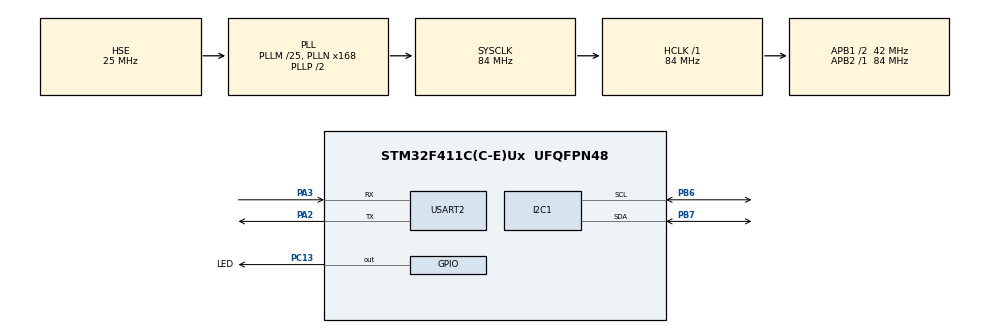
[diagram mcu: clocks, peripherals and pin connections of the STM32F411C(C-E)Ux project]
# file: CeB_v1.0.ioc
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I2C1.I2C_Mode=I2C_Standard
Mcu.Family=STM32F4
Mcu.Name=STM32F411C(C-E)Ux
Mcu.Package=UFQFPN48
NVIC.PriorityGroup=NVIC_PRIORITYGROUP_4
PA13.Mode=Serial_Wire
PA13.Signal=SYS_JTMS-SWDIO
PA14.Mode=Serial_Wire
PA14.Signal=SYS_JTCK-SWCLK
PA2.Mode=Asynchronous
PA2.Signal=USART2_TX
PA3.Mode=Asynchronous
PA3.Signal=USART2_RX
PB6.Mode=I2C
PB6.Signal=I2C1_SCL
PB7.Mode=I2C
PB7.Signal=I2C1_SDA
PC13-ANTI_TAMP.GPIO_Label=LED
PC13-ANTI_TAMP.PinState=GPIO_PIN_SET
PC13-ANTI_TAMP.Signal=GPIO_Output
PC14-OSC32_IN.Mode=LSE-External-Oscillator
PC14-OSC32_IN.Signal=RCC_OSC32_IN
PC15-OSC32_OUT.Mode=LSE-External-Oscillator
PC15-OSC32_OUT.Signal=RCC_OSC32_OUT
PH0\ -\ OSC_IN.Mode=HSE-External-Oscillator
PH0\ -\ OSC_IN.Signal=RCC_OSC_IN
PH1\ -\ OSC_OUT.Mode=HSE-External-Oscillator
PH1\ -\ OSC_OUT.Signal=RCC_OSC_OUT
ProjectManager.HeapSize=0x200
ProjectManager.StackSize=0x400
ProjectManager.TargetToolchain=STM32CubeIDE
RCC.48MHZClocksFreq_Value=42000000
RCC.AHBFreq_Value=84000000
RCC.APB1CLKDivider=RCC_HCLK_DIV2
RCC.APB1Freq_Value=42000000
RCC.APB1TimFreq_Value=84000000
RCC.APB2Freq_Value=84000000
RCC.APB2TimFreq_Value=84000000
RCC.CortexFreq_Value=84000000
RCC.HCLKFreq_Value=84000000
RCC.HSE_VALUE=25000000
RCC.HSI_VALUE=16000000
RCC.PLLM=25
RCC.PLLN=168
RCC.PLLSourceVirtual=RCC_PLLSOURCE_HSE
RCC.SYSCLKFreq_VALUE=84000000
RCC.SYSCLKSource=RCC_SYSCLKSOURCE_PLLCLK
RCC.VCOOutputFreq_Value=168000000
USART2.VirtualMode=VM_ASYNC
board=custom

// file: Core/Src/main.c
/* USER CODE BEGIN Header */
/**
  ******************************************************************************
  * @file           : main.c
  * @brief          : Main program body
  ******************************************************************************
  * @attention
  *
  * Copyright (c) 2025 STMicroelectronics.
  * All rights reserved.
  *
  * This software is licensed under terms that can be found in the LICENSE file
  * in the root directory of this software component.
  * If no LICENSE file comes with this software, it is provided AS-IS.
  *
  ******************************************************************************
  */
/* USER CODE END Header */
#include "main.h"
#include "i2c.h"
#include "usart.h"
#include "gpio.h"

/* USER CODE BEGIN Includes */
#include "eeprom.h"
#include <stdio.h>
#include <string.h>

#include "SSD1306_OLED.h"
#include "GFX_BW.h"
#include "Fonts/fonts.h"

/* USER CODE END Includes */

/* USER CODE BEGIN PV */
///* Virtual address defined by the user: 0xFFFF value is prohibited */
//uint16_t VirtAddVarTab[NB_OF_VAR];
//uint16_t VarDataTab[NB_OF_VAR] = {'Z','A','P','I','S',' ','Z',' ','1','0',':','0','6','0','5'}; // n+1
//uint8_t VarDataTabRead[NB_OF_VAR];
//uint16_t VarIndex,VarDataTmp = 0;
/* USER CODE END PV */

void SystemClock_Config(void);
/* USER CODE BEGIN PFP */
///* Direct printf to output somewhere */
//#ifdef __GNUC__
//#define PUTCHAR_PROTOTYPE int __io_putchar(int ch)
//#else
//#define PUTCHAR_PROTOTYPE int fputc(int ch, FILE *f)
//#endif /* __GNUC__ */
//
//#ifndef __UUID_H
//#define __UUID_H
////#define STM32_UUID ((uint32_t *)0x1FF0F420)
//#define STM32_UUID ((uint32_t *)UID_BASE)
//#endif //__UUID_H

/* USER CODE END PFP */

/* USER CODE BEGIN 0 */

// --------- PROSTE DANE EKRANU ----------
typedef struct {
  int   speed_kmh;   // np. 23
  int   power_w;     // np. 312
  float voltage_v;   // np. 41.8
  int   assist;      // PAS level, np. 3
  float trip_km;     // np. 12.4
  int   time_hh;     // np. 10
  int   time_mm;     // np. 06
} UiData;

// ---------- POMOCNICZE RYSOWANIE ------------
static void UI_DrawBattery(int x, int y, int w, int h, uint8_t pct)
{
  if(pct > 100) pct = 100;
  if(pct > 100) pct = 100;
  if(w < 8) w = 8;
  if(h < 8) h = 8;

  // obudowa
  GFX_DrawRectangle(x, y, w-2, h, WHITE);
  // „bolczyk” plusa po prawej
  GFX_DrawFillRectangle(x + w - 2, y + h/3, 2, h/3, WHITE);

  // wypełnienie wewnątrz
  int inner_w = (w-2) - 4;       // margines 2 piksele z każdej strony
  int inner_h = h - 4;
  int fill_w  = (inner_w * pct) / 100;
  GFX_DrawFillRectangle(x+2, y+2, fill_w, inner_h, WHITE);
}

static void UI_DrawLabelValue(int x, int y, const char* label, const char* value)
{
  char buf[20];
  // label
  GFX_SetFontSize(1);
  snprintf(buf, sizeof(buf), "%s", label);
  GFX_DrawString(x, y, buf, WHITE, 0);

  // value pod spodem
  GFX_SetFontSize(1);
  GFX_DrawString(x, y + (GFX_GetFontHeight()*1) + 2, (char*)value, WHITE, 0);
}

static int UI_TextWidthPx(const char* s)
{
  // szerokość pojedynczego znaku = font[1] * size, spacja = +1
  // (funkcje dostępne w Twojej bibliotece GFX)
  return (int)strlen(s) * ( (int)GFX_GetFontWidth() * (int)GFX_GetFontSize() + 1 );
}

static void UI_DrawCenteredText(int center_x, int y, const char* s)
{
  int w = UI_TextWidthPx(s);
  int x = center_x - w/2;
  if(x < 0) x = 0;
  GFX_DrawString(x, y, (char*)s, WHITE, 0);
}

// -------------- GŁÓWNY EKRAN ---------------
static void UI_DrawFirstScreen(const UiData* d)
{
  // tło
  SSD1306_Clear(BLACK);

  // USTAW CZCIONKĘ (wstaw prawdziwą nazwę z Fonts/fonts.h)
  // Przykłady często spotykane: Font5x7, Font_5x7, font5x7
  extern const uint8_t font_8x5[];    // <--- jeśli u Ciebie ma inną nazwę, podmień!
  GFX_SetFont(font_8x5);

  // Górny pasek: PAS + godzina + bateria
  char buf[24];

  // PAS (lewy górny)
  snprintf(buf, sizeof(buf), "PAS %d", d->assist);
  GFX_SetFontSize(1);
  GFX_DrawString(2, 1, buf, WHITE, 0);

//  // Godzina (środek góry)
//  snprintf(buf, sizeof(buf), "%02d:%02d", d->time_hh, d->time_mm);
//  UI_DrawCenteredText(SSD1306_LCDWIDTH/2, 1, buf);

  // Bateria (prawy górny)
  // Załóżmy, że 42.0V ≈ 100%, 36.0V ≈ 0% dla 10S Li-ion (przykład)
  int pct = (int)((d->voltage_v - 36.0f) * (100.0f / (42.0f - 36.0f)));
  if(pct < 0) pct = 0; if(pct > 100) pct = 100;
  UI_DrawBattery(SSD1306_LCDWIDTH - 26, 0, 26, 10, (uint8_t)pct);

  // Separator
  GFX_DrawFastHLine(0, 12, SSD1306_LCDWIDTH, WHITE);

  // Duża prędkość w centrum
  char spd[8];
  snprintf(spd, sizeof(spd), "%d", d->speed_kmh);
  GFX_SetFontSize(4);                 // x2 – duże cyfry (Twoje GFX tak powiększa) :contentReference[oaicite:3]{index=3}
  UI_DrawCenteredText(SSD1306_LCDWIDTH/2, 14, spd);

  // Jednostka "km/h" pod spodem mniejsza
  GFX_SetFontSize(1);
  UI_DrawCenteredText(SSD1306_LCDWIDTH/2, 18, spd + GFX_GetFontHeight()*2 + 2);
  GFX_DrawString(SSD1306_LCDWIDTH/2 + 30, 18 + GFX_GetFontHeight()*2 + 2, "km/h", WHITE, 0);

  // Dolny blok (trzy kolumny): PWR / VOLT / TRIP
  GFX_DrawFastHLine(0, SSD1306_LCDHEIGHT-20, SSD1306_LCDWIDTH, WHITE);

  // Kolumna 1: PWR
  char val[20];
  snprintf(val, sizeof(val), "%d W", d->power_w);
  UI_DrawLabelValue(2, SSD1306_LCDHEIGHT-18, "PWR", val);

  // Kolumna 2: VOLT (środek)
  snprintf(val, sizeof(val), "%.1f V", d->voltage_v);
  int mid_x = SSD1306_LCDWIDTH/2 - 20;
  UI_DrawLabelValue(mid_x, SSD1306_LCDHEIGHT/6 -18, 0, val);

  // Kolumna 3: TRIP (prawa)
  snprintf(val, sizeof(val), "%.1f km", d->trip_km);
  UI_DrawLabelValue(SSD1306_LCDWIDTH-48, SSD1306_LCDHEIGHT-18, "TRIP", val);

  // Wyświetl
  SSD1306_Display();
}

/* USER CODE END 0 */

int main(void)
{

  /* MCU Configuration--------------------------------------------------------*/

  /* Reset of all peripherals, Initializes the Flash interface and the Systick. */
  HAL_Init();

  /* Configure the system clock */
  SystemClock_Config();

  /* Initialize all configured peripherals */
  MX_GPIO_Init();
  MX_USART2_UART_Init();
  MX_I2C1_Init();
  /* USER CODE BEGIN 2 */

  SSD1306_Init(&hi2c1);

  SSD1306_Clear(BLACK);

  // USTAW CZCIONKĘ (TAK SAMO jak w UI_DrawFirstScreen!)
  // podmień jeśli u Ciebie nazywa się inaczej
  GFX_SetFont(font_8x5);
  GFX_SetFontSize(1);
  // przykładowe dane do pierwszego ekranu
  UiData d = {
    .speed_kmh = 12,
    .power_w   = 312,
    .voltage_v = 41.8f,
    .assist    = 3,
    .trip_km   = 12.4f,
    .time_hh   = 10,
    .time_mm   = 6
  };

  UI_DrawFirstScreen(&d);
  GFX_SetFontSize(2);
  SSD1306_Display();

//  char uart2Data[24] = "Connected to UART Two\r\n";
//     /*
//      * Output to uart2
//      * use screen or putty or whatever terminal software
//      * 8N1 115200
//      */
//     HAL_UART_Transmit(&huart2, (uint8_t *)&uart2Data,sizeof(uart2Data), 0xFFFF);
//
//   	printf("\r\n");
//
//   	printf("Scanning I2C bus:\r\n");
//  	HAL_StatusTypeDef result;
//   	uint8_t i;
//   	for (i=1; i<128; i++)
//   	{
//   	  /*
//   	   * the HAL wants a left aligned i2c address
//   	   * &hi2c1 is the handle
//   	   * (uint16_t)(i<<1) is the i2c address left aligned
//   	   * retries 2
//   	   * timeout 2
//   	   */
//   	  result = HAL_I2C_IsDeviceReady(&hi2c1, (uint16_t)(i<<1), 2, 2);
//   	  if (result != HAL_OK) // HAL_ERROR or HAL_BUSY or HAL_TIMEOUT
//   	  {
//   		  printf("."); // No ACK received at that address
//   	  }
//   	  if (result == HAL_OK)
//   	  {
//   		  printf("0x%X", i); // Received an ACK at that address
//   	  }
//   	}
//   	printf("\r\n");
//

//
//
//  HAL_FLASH_Unlock();
//
//  HAL_GPIO_WritePin(LED_GPIO_Port, LED_Pin, GPIO_PIN_SET);
//
//  /* EEPROM Init */
//  if( EE_Init() != EE_OK)
//  {
//    Error_Handler();
//  }
//
//  // Fill EEPROM variables addresses
//  for(VarIndex = 1; VarIndex <= NB_OF_VAR; VarIndex++)
//  {
//	  VirtAddVarTab[VarIndex-1] = VarIndex;
//  }
//
//
//  // Store Values in EEPROM emulation
//  HAL_UART_Transmit(&huart2, "Store values\n\r", 14, 100);
//
//  HAL_GPIO_WritePin(LED_GPIO_Port, LED_Pin, GPIO_PIN_RESET);
//	for (VarIndex = 0; VarIndex < NB_OF_VAR; VarIndex++)
//	{
//	  /* Sequence 1 */
//	  if((EE_WriteVariable(VirtAddVarTab[VarIndex],  VarDataTab[VarIndex])) != HAL_OK)
//	  {
//		Error_Handler();
//	  }
//	}
//	HAL_GPIO_WritePin(LED_GPIO_Port, LED_Pin, GPIO_PIN_SET);
//
//  // Read values
//  HAL_UART_Transmit(&huart2, "Read values\n\r", 13, 100);
//  HAL_GPIO_WritePin(LED_GPIO_Port, LED_Pin, GPIO_PIN_RESET);
//  for (VarIndex = 0; VarIndex < NB_OF_VAR; VarIndex++)
//  {
//	  if((EE_ReadVariable(VirtAddVarTab[VarIndex],  &VarDataTabRead[VarIndex])) != HAL_OK)
//	  {
//		  Error_Handler();
//	  }
//  }
//  HAL_GPIO_WritePin(LED_GPIO_Port, LED_Pin, GPIO_PIN_SET);
//
//  HAL_UART_Transmit(&huart2, "Read table: ", 12, 100);
//  HAL_UART_Transmit(&huart2, VarDataTabRead, NB_OF_VAR, 1000);
//  HAL_UART_Transmit(&huart2, "\n\r", 2, 100);
//
//
//  // Store revert Values in EEPROM emulation
//  HAL_UART_Transmit(&huart2, "\n\r", 2, 100);
//  HAL_UART_Transmit(&huart2, "Store revert values\n\r", 21, 100);
//
//  HAL_GPIO_WritePin(LED_GPIO_Port, LED_Pin, GPIO_PIN_RESET);
//	for (VarIndex = 0; VarIndex < NB_OF_VAR; VarIndex++)
//	{
//	  /* Sequence 1 */
//	  if((EE_WriteVariable(VirtAddVarTab[VarIndex],  VarDataTab[NB_OF_VAR-VarIndex-1])) != HAL_OK)
//	  {
//		Error_Handler();
//	  }
//	}
//	HAL_GPIO_WritePin(LED_GPIO_Port, LED_Pin, GPIO_PIN_SET);
//
//  // Read values
//  HAL_UART_Transmit(&huart2, "Read revert values\n\r", 20, 100);
//  HAL_GPIO_WritePin(LED_GPIO_Port, LED_Pin, GPIO_PIN_RESET);
//  for (VarIndex = 0; VarIndex < NB_OF_VAR; VarIndex++)
//  {
//	  if((EE_ReadVariable(VirtAddVarTab[VarIndex],  &VarDataTabRead[VarIndex])) != HAL_OK)
//	  {
//		  Error_Handler();
//	  }
//  }
//  HAL_GPIO_WritePin(LED_GPIO_Port, LED_Pin, GPIO_PIN_SET);
//
//  HAL_UART_Transmit(&huart2, "Read revert table: ", 19, 100);
//  HAL_UART_Transmit(&huart2, VarDataTabRead, NB_OF_VAR, 1000);
//  HAL_UART_Transmit(&huart2, "\n\r", 2, 100);
//
//  // Store Values in EEPROM emulation
//  HAL_UART_Transmit(&huart2, "\n\r", 2, 100);
//  HAL_UART_Transmit(&huart2, "Store values\n\r", 14, 100);
//
//  HAL_GPIO_WritePin(LED_GPIO_Port, LED_Pin, GPIO_PIN_RESET);
//	for (VarIndex = 0; VarIndex < NB_OF_VAR; VarIndex++)
//	{
//	  /* Sequence 1 */
//	  if((EE_WriteVariable(VirtAddVarTab[VarIndex],  VarDataTab[VarIndex])) != HAL_OK)
//	  {
//		Error_Handler();
//	  }
//	}
//	HAL_GPIO_WritePin(LED_GPIO_Port, LED_Pin, GPIO_PIN_SET);
//
//  // Read values
//  HAL_UART_Transmit(&huart2, "Read values\n\r", 13, 100);
//  HAL_GPIO_WritePin(LED_GPIO_Port, LED_Pin, GPIO_PIN_RESET);
//  for (VarIndex = 0; VarIndex < NB_OF_VAR; VarIndex++)
//  {
//	  if((EE_ReadVariable(VirtAddVarTab[VarIndex],  &VarDataTabRead[VarIndex])) != HAL_OK)
//	  {
//		  Error_Handler();
//	  }
//  }
//  HAL_GPIO_WritePin(LED_GPIO_Port, LED_Pin, GPIO_PIN_SET);
//
//  HAL_UART_Transmit(&huart2, "Read table: ", 12, 100);
//  HAL_UART_Transmit(&huart2, VarDataTabRead, NB_OF_VAR, 1000);
//  HAL_UART_Transmit(&huart2, "\n\r", 2, 100);
//
//
//
//    for(uint8_t i = 0; i < 30; i++)
//    {
//  	  SSD1306_DrawPixel(10+i, 10, WHITE);
//    }

//    GFX_DrawLine(10, 20, 39, 20, WHITE);
//
//    GFX_DrawLine(10, 30, 39, 50, WHITE);
//
//    GFX_DrawRoundRectangle(50, 10, 40, 60, 5, WHITE);

  /* USER CODE END 2 */

  /* Infinite loop */
  while (1)
  {

  }
}

void SystemClock_Config(void)
{
  RCC_OscInitTypeDef RCC_OscInitStruct = {0};
  RCC_ClkInitTypeDef RCC_ClkInitStruct = {0};

  /** Configure the main internal regulator output voltage
  */
  __HAL_RCC_PWR_CLK_ENABLE();
  __HAL_PWR_VOLTAGESCALING_CONFIG(PWR_REGULATOR_VOLTAGE_SCALE1);

  /** Initializes the RCC Oscillators according to the specified parameters
  * in the RCC_OscInitTypeDef structure.
  */
  RCC_OscInitStruct.OscillatorType = RCC_OSCILLATORTYPE_HSE;
  RCC_OscInitStruct.HSEState = RCC_HSE_ON;
  RCC_OscInitStruct.PLL.PLLState = RCC_PLL_ON;
  RCC_OscInitStruct.PLL.PLLSource = RCC_PLLSOURCE_HSE;
  RCC_OscInitStruct.PLL.PLLM = 25;
  RCC_OscInitStruct.PLL.PLLN = 168;
  RCC_OscInitStruct.PLL.PLLP = RCC_PLLP_DIV2;
  RCC_OscInitStruct.PLL.PLLQ = 4;
  if (HAL_RCC_OscConfig(&RCC_OscInitStruct) != HAL_OK)
  {
    Error_Handler();
  }

  /** Initializes the CPU, AHB and APB buses clocks
  */
  RCC_ClkInitStruct.ClockType = RCC_CLOCKTYPE_HCLK|RCC_CLOCKTYPE_SYSCLK
                              |RCC_CLOCKTYPE_PCLK1|RCC_CLOCKTYPE_PCLK2;
  RCC_ClkInitStruct.SYSCLKSource = RCC_SYSCLKSOURCE_PLLCLK;
  RCC_ClkInitStruct.AHBCLKDivider = RCC_SYSCLK_DIV1;
  RCC_ClkInitStruct.APB1CLKDivider = RCC_HCLK_DIV2;
  RCC_ClkInitStruct.APB2CLKDivider = RCC_HCLK_DIV1;

  if (HAL_RCC_ClockConfig(&RCC_ClkInitStruct, FLASH_LATENCY_2) != HAL_OK)
  {
    Error_Handler();
  }
}

/* USER CODE BEGIN 4 */
//PUTCHAR_PROTOTYPE
//{
//  /* Place your implementation of fputc here */
//  /* e.g. write a character to the USART2 and Loop until the end of transmission */
//  HAL_UART_Transmit(&huart2, (uint8_t *)&ch, 1, 0xFFFF);
//
//  return ch;
//}

/* USER CODE END 4 */

void Error_Handler(void)
{
  __disable_irq();
  while (1)
  {
  }
}
